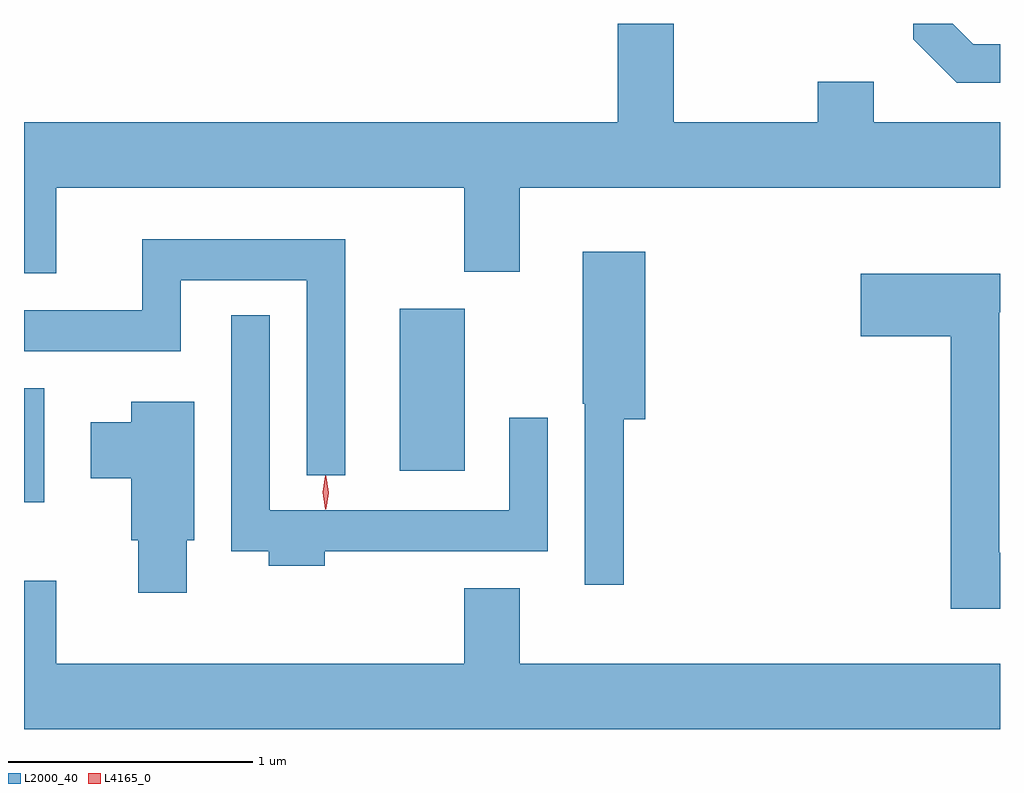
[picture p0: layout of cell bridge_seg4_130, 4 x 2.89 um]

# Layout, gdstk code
import gdstk
lib = gdstk.Library(unit=1e-6, precision=1e-09)
def R(c, l, rs):  # rectangles x0, y0, x1, y1
    for r in rs: c.add(gdstk.rectangle(r[:2], r[2:], *l))
def P(c, l, *ps):  # polygons
    for p in ps: c.add(gdstk.Polygon(p, *l))
L2000_40 = (2000, 40)
L4165_0 = (4165, 0)

bridge_seg4_130 = lib.new_cell('bridge_seg4_130')
R(bridge_seg4_130, L2000_40, [(876.757,1313.426,876.839,1313.894), (878.296,1313.556,878.564,1314.219)])
P(bridge_seg4_130, L2000_40, [(876.889,1314.716),(878.561,1314.716),(878.561,1314.371),(878.789,1314.371),(878.789,1314.716),(880.757,1314.716),(880.757,1314.984),(880.239,1314.984),(880.239,1315.149),(880.011,1315.149),(880.011,1314.984),(879.419,1314.984),(879.419,1315.388),(879.191,1315.388),(879.191,1314.984),(876.757,1314.984),(876.757,1314.366),(876.889,1314.366)],
  [(880.757,1315.304),(880.647,1315.304),(880.563,1315.388),(880.401,1315.388),(880.401,1315.324),(880.579,1315.146),(880.757,1315.146)],
  [(878.074,1314.504),(877.241,1314.504),(877.241,1314.214),(876.757,1314.214),(876.757,1314.046),(877.399,1314.046),(877.399,1314.336),(877.916,1314.336),(877.916,1313.538),(878.074,1313.538)],
  [(879.214,1313.766),(879.304,1313.766),(879.304,1314.454),(879.046,1314.454),(879.046,1313.83),(879.056,1313.83),(879.056,1313.088),(879.214,1313.088)],
  [(880.757,1313.219),(880.754,1313.219),(880.754,1314.206),(880.757,1314.206),(880.757,1314.364),(880.186,1314.364),(880.186,1314.106),(880.556,1314.106),(880.556,1312.991),(880.757,1312.991)],
  [(877.989,1313.226),(878.904,1313.226),(878.904,1313.773),(878.746,1313.773),(878.746,1313.394),(877.764,1313.394),(877.764,1314.193),(877.606,1314.193),(877.606,1313.226),(877.761,1313.226),(877.761,1313.166),(877.989,1313.166)],
  [(877.424,1313.271),(877.454,1313.271),(877.454,1313.839),(877.196,1313.839),(877.196,1313.754),(877.031,1313.754),(877.031,1313.526),(877.196,1313.526),(877.196,1313.271),(877.226,1313.271),(877.226,1313.056),(877.424,1313.056)],
  [(880.757,1312.764),(878.789,1312.764),(878.789,1313.074),(878.561,1313.074),(878.561,1312.764),(876.889,1312.764),(876.889,1313.104),(876.757,1313.104),(876.757,1312.496),(880.757,1312.496)])
P(bridge_seg4_130, L4165_0, [(877.995,1313.399),(877.994,1313.4),(877.985,1313.466),(877.994,1313.532),(877.995,1313.533),(877.995,1313.532),(878.005,1313.466),(877.995,1313.4)],
  [(877.992,1313.397),(877.992,1313.398),(877.982,1313.467),(877.992,1313.536),(877.992,1313.536),(877.993,1313.536),(878.002,1313.467),(877.993,1313.398)])

lib.write_gds('bridge_seg4_130.gds')
